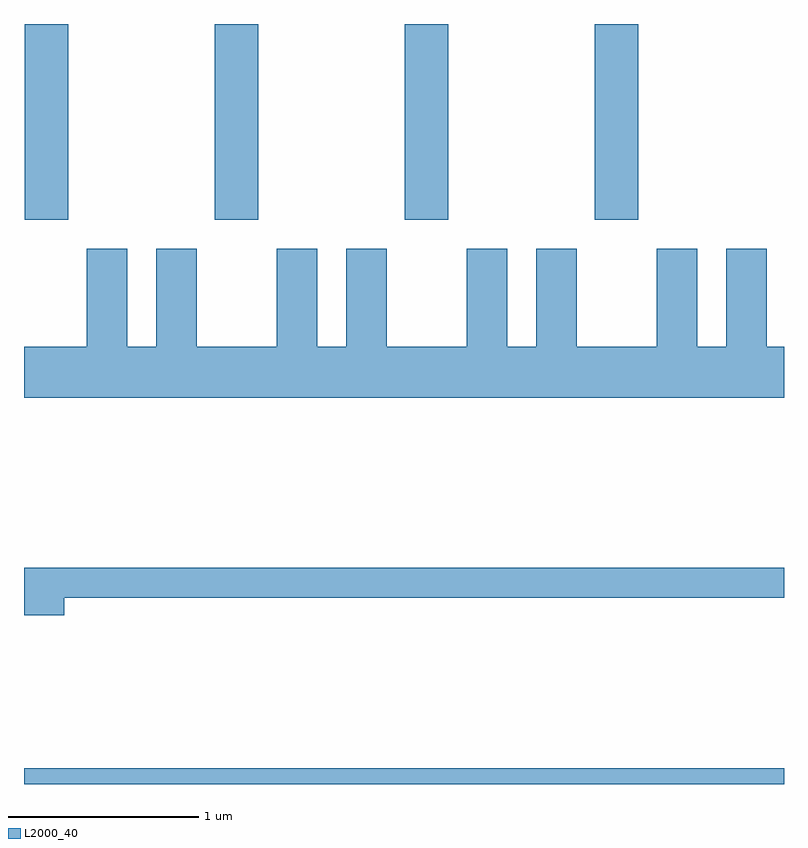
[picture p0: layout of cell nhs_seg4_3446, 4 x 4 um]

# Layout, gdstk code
import gdstk
lib = gdstk.Library(unit=1e-6, precision=1e-09)
def R(c, l, rs):  # rectangles x0, y0, x1, y1
    for r in rs: c.add(gdstk.rectangle(r[:2], r[2:], *l))
def A(c, l, x, y, w, h, nx, ny, dx, dy):  # array of equal rectangles
    R(c, l, [(x+i*dx, y+j*dy, x+i*dx+w, y+j*dy+h) for i in range(nx) for j in range(ny)])
def P(c, l, *ps):  # polygons
    for p in ps: c.add(gdstk.Polygon(p, *l))
L2000_40 = (2000, 40)

nhs_seg4_3446 = lib.new_cell('nhs_seg4_3446')
A(nhs_seg4_3446, L2000_40, 285.616, 1348.951, 0.228, 1.031, 4, 1, 1, 0)
R(nhs_seg4_3446, L2000_40, [(285.611,1345.982,289.611,1346.064)])
P(nhs_seg4_3446, L2000_40, [(289.611,1348.284),(289.519,1348.284),(289.519,1348.799),(289.306,1348.799),(289.306,1348.284),(289.154,1348.284),(289.154,1348.799),(288.941,1348.799),(288.941,1348.284),(288.519,1348.284),(288.519,1348.799),(288.306,1348.799),(288.306,1348.284),(288.154,1348.284),(288.154,1348.799),(287.941,1348.799),(287.941,1348.284),(287.519,1348.284),(287.519,1348.799),(287.306,1348.799),(287.306,1348.284),(287.154,1348.284),(287.154,1348.799),(286.941,1348.799),(286.941,1348.284),(286.519,1348.284),(286.519,1348.799),(286.306,1348.799),(286.306,1348.284),(286.154,1348.284),(286.154,1348.799),(285.941,1348.799),(285.941,1348.284),(285.611,1348.284),(285.611,1348.016),(289.611,1348.016)],
  [(285.824,1346.961),(289.611,1346.961),(289.611,1347.119),(285.611,1347.119),(285.611,1346.871),(285.824,1346.871)])

lib.write_gds('nhs_seg4_3446.gds')
